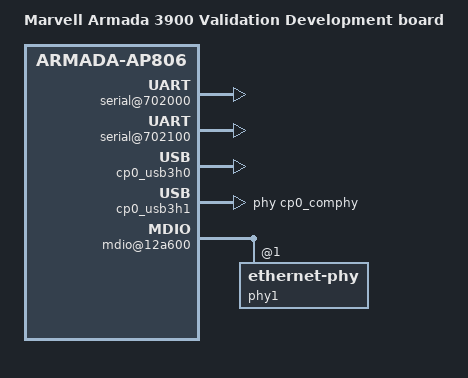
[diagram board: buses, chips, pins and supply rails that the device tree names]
/*
 * Copyright (C) 2016 Marvell Technology Group Ltd.
 *
 * This file is dual-licensed: you can use it either under the terms
 * of the GPLv2 or the X11 license, at your option. Note that this dual
 * licensing only applies to this file, and not this project as a
 * whole.
 *
 *  a) This library is free software; you can redistribute it and/or
 *     modify it under the terms of the GNU General Public License as
 *     published by the Free Software Foundation; either version 2 of the
 *     License, or (at your option) any later version.
 *
 *     This library is distributed in the hope that it will be useful,
 *     but WITHOUT ANY WARRANTY; without even the implied warranty of
 *     MERCHANTABILITY or FITNESS FOR A PARTICULAR PURPOSE.  See the
 *     GNU General Public License for more details.
 *
 * Or, alternatively,
 *
 *  b) Permission is hereby granted, free of charge, to any person
 *     obtaining a copy of this software and associated documentation
 *     files (the "Software"), to deal in the Software without
 *     restriction, including without limitation the rights to use,
 *     copy, modify, merge, publish, distribute, sublicense, and/or
 *     sell copies of the Software, and to permit persons to whom the
 *     Software is furnished to do so, subject to the following
 *     conditions:
 *
 *     The above copyright notice and this permission notice shall be
 *     included in all copies or substantial portions of the Software.
 *
 *     THE SOFTWARE IS PROVIDED "AS IS", WITHOUT WARRANTY OF ANY KIND,
 *     EXPRESS OR IMPLIED, INCLUDING BUT NOT LIMITED TO THE WARRANTIES
 *     OF MERCHANTABILITY, FITNESS FOR A PARTICULAR PURPOSE AND
 *     NONINFRINGEMENT. IN NO EVENT SHALL THE AUTHORS OR COPYRIGHT
 *     HOLDERS BE LIABLE FOR ANY CLAIM, DAMAGES OR OTHER LIABILITY,
 *     WHETHER IN AN ACTION OF CONTRACT, TORT OR OTHERWISE, ARISING
 *     FROM, OUT OF OR IN CONNECTION WITH THE SOFTWARE OR THE USE OR
 *     OTHER DEALINGS IN THE SOFTWARE.
 */

#include "armada-3900-db.dtsi"

/ {
	model = "Marvell Armada 3900 Validation Development board";
	compatible = "marvell,armada3900-db-vd", "marvell,armada7040",
		     "marvell,armada-ap806-quad", "marvell,armada-ap806";

	cp0 {
		config-space {
			serial@702000 {
				status = "okay";
			};
			serial@702100 {
				status = "okay";
			};
			pinctrl@440000 {
				cp0_xhci0_vbus_pins: cp0-xhci0-vbus-pins {
					marvell,pins = "mpp44";
					marvell,function = "gpio";
				};
				cp0_xhci1_vbus_pins: cp0-xhci1-vbus-pins {
					marvell,pins = "mpp45";
					marvell,function = "gpio";
				};
			};
			cp0_usb3h0: usb3@500000 {
				status = "okay";
			};
			cp0_usb3h1: usb3@510000 {
				separated-phys-for-usb2-usb3;
				phys = <&cp0_comphy 4 COMPHY_USB3H1>;
				phy-names = "usb3";
				status = "okay";
			};
			mdio@12a600 {
				phy1: ethernet-phy@1 {
					max-speed = <2500>;
				};
			};
			gop {
				cp0_emac2: mac2 {
					phy-mode = "sgmii";
					phy-speed = <1000>;
					phys = <&cp0_comphy 3 COMPHY_SGMII1>;
				};
			};
		};

		pcie0@600000 {
			num-lanes = <2>;
			phys = <&cp0_comphy 0 COMPHY_PCIE0
				&cp0_comphy 1 COMPHY_PCIE0
				>;
			phy-names = "pcie-phy0", "pcie-phy1";

		};
	};

	cp0_reg_usb3_vbus0: cp0_usb3_vbus@0 {
		gpio = <&cp0_gpio1 12 GPIO_ACTIVE_HIGH>;
	};
	cp0_reg_usb3_vbus1: cp0_usb3_vbus@1 {
		gpio = <&cp0_gpio1 13 GPIO_ACTIVE_HIGH>;
	};
};
